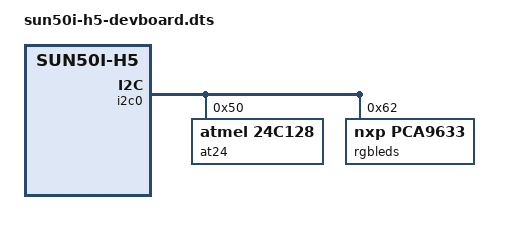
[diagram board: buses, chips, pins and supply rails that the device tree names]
/dts-v1/;
/plugin/;

/ {
  compatible = "allwinner,sun50i-h5";

	fragment@0 {
		target-path = "/aliases";
		__overlay__ {
			i2c0 = "/soc/i2c@01c2ac00";
		};
	};

	fragment@1 {
		target = <&i2c0>;
		__overlay__ {
			#address-cells = <1>;
			#size-cells = <0>;
      		status = "okay";

		    at24@50 {
		   		compatible = "atmel,24c128";
		    	pagesize = <64>;
		    	reg = <0x50>;
		    };

    		rgbleds: pca9633@62 {
	    		compatible = "nxp,pca9633";
	    		#address-cells = <1>;
	    		#size-cells = <0>;
	    		reg = <0x62>;

	      	led0@0 {
	    			label = "red";
	    			reg = <0>;
	      		};
	    		led1@1 {
	    			label = "green";
	    			reg = <1>;
	      		};
	    		led2@2 {
	    			label = "blue";
	    			reg = <2>;
	    		};
	    		led3@3 {
	    			label = "white";
	    			reg = <3>;
	    			linux,default-trigger = "default-on";
	    		};
	    	};
		};
	};
};
